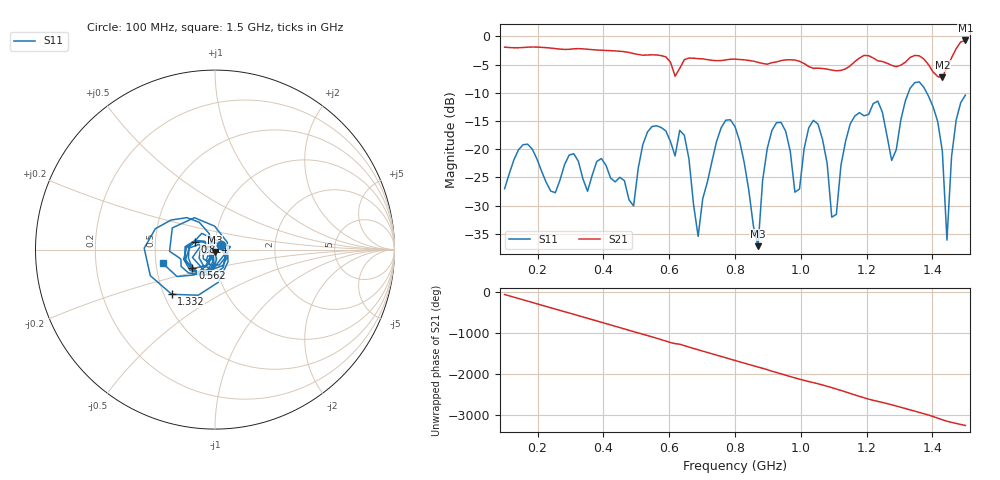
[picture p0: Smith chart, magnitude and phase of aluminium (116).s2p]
! NanoVNA-App
! Date: 2025-09-25 14:56:10
! Start: 100MHz Stop: 1,5GHz Points: 101
! S-Parameter data: F S11 S21 S12 S22
# Hz S RI R 50
!  Frequency  S11_Real  S11_Imag  S21_Real  S21_Imag  S12_Real  S12_Imag  S22_Real  S22_Imag
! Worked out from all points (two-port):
!   101 points, 100 MHz to 1.5 GHz, reference 50 ohm
!   highest |S21| = -0.73 dB at 1.5 GHz (marker M1); lowest = -7.3 dB at 1.43 GHz (marker M2)
!   |S21| within 3 dB of the highest: start of sweep to 591.3 MHz; 1.459 GHz to end of sweep (the widest 2 of 4)
!   lowest |S11| = -37.2 dB at 870 MHz (marker M3), VSWR 1.03, Z = 49.8 - j1.37 ohm
!   |S11| at or under -10 dB: start of sweep to 1.327 GHz; 1.382 GHz to end of sweep
!   S12 and S22 are empty: the file has one direction only
!   S11 on the Smith chart (normalised r, x): 100 MHz: 1.07, +0.06; 562 MHz: 0.76, -0.16; 814 MHz: 0.80, +0.07; 1.332 GHz: 0.55, -0.31; 1.5 GHz: 0.54, -0.09
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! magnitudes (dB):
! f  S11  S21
! 100 MHz  -27.0  -1.9
! 338 MHz  -25.3  -2.2
! 492 MHz  -30.0  -3.1
! 562 MHz  -15.8  -3.3
! 576 MHz  -16.2  -3.4
! 646 MHz  -17.5  -4.1
! 688 MHz  -35.4  -4.0
! 800 MHz  -16.0  -4.0
! 814 MHz  -18.5  -4.1
! 870 MHz  -37.2  -4.6
! 912 MHz  -16.7  -4.7
! 982 MHz  -27.6  -4.2
! 1.038 GHz  -14.9  -5.7
! 1.094 GHz  -32.0  -6.0
! 1.164 GHz  -14.1  -4.5
! 1.234 GHz  -11.5  -4.3
! 1.276 GHz  -22.0  -5.1
! 1.332 GHz  -9.2  -3.7
! 1.43 GHz  -20.4  -7.3
! 1.444 GHz  -36.1  -5.5
! 1.472 GHz  -14.8  -2.2
! 1.5 GHz  -10.4  -0.7
